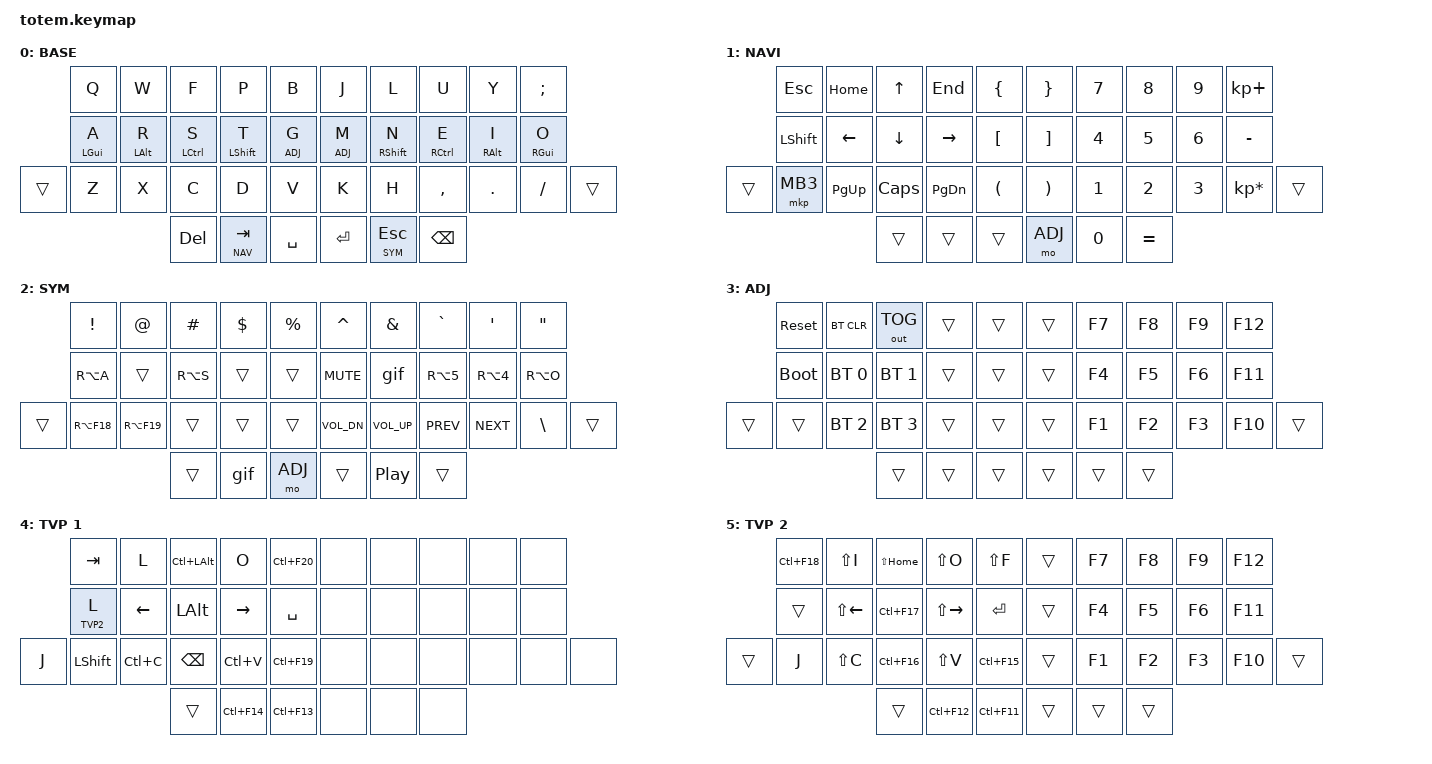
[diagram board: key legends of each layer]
//
//                                                        ▀▀▀▀▀     ▀▀▀▀▀          ▀▀█▀▀
//                                                        ▄▀▀▀▄  ▄  ▄▀▀▀▄  ▄  ▄▀▀▀▄  █  ▄▀▀▀▄
//                                                        █   █  █  █   █  █  █   █  █  █   █
//                                                         ▀▀▀   █   ▀▀▀   █   ▀▀▀   ▀   ▀▀▀
//                                                               █      ▄▄▄█▄▄▄    █   █  
//                                                               ▀      █  █  █     █▄█
//                                                             ▀▀▀▀▀    █  █  █      ▀
//                                                                      ▀  ▀  ▀
//
// ▄▄▄▄▄▄▄▄▄▄▄▄▄▄▄▄▄▄▄▄▄▄▄▄▄▄▄▄▄▄▄▄▄▄▄▄▄▄▄▄▄▄▄▄▄▄▄▄▄▄▄▄▄▄▄▄▄▄▄▄▄▄▄▄▄▄▄▄▄▄▄▄▄▄▄▄▄▄▄▄▄▄▄▄▄▄▄▄▄▄▄▄▄▄▄▄▄▄▄▄▄▄▄▄▄▄▄▄▄▄▄▄▄▄▄▄▄▄▄▄▄▄▄▄▄▄▄▄▄▄▄▄▄▄▄▄▄▄▄▄▄▄▄▄▄▄▄▄▄
       

#include <behaviors.dtsi>
#include <dt-bindings/zmk/keys.h>
#include <dt-bindings/zmk/bt.h>
#include <dt-bindings/zmk/outputs.h>
#include <dt-bindings/zmk/pointing.h>

#define BASE 0
#define NAV  1
#define SYM  2
#define ADJ  3
#define TVP1 4
#define TVP2 5

&mt {
  quick-tap-ms = <100>;
  global-quick-tap;
  flavor = "tap-preferred";
  tapping-term-ms = <170>;
};

/ {
     combos {
            compatible = "zmk,combos";
            combo_esc {
                timeout-ms = <50>;
                key-positions = <0 1>;
                bindings = <&kp ESC>;
            };
            combo_tvp {
                timeout-ms = <100>;
                key-positions = <11 12 13>;
                bindings = <&tog TVP1>;
            };
    };

    macros {
        gif: gif {
            label = "giphy";
            compatible = "zmk,behavior-macro";
            #binding-cells = <0>;
            bindings
                = <&macro_press &kp LALT>
                , <&macro_tap &kp KP_N0 &kp KP_N1 &kp KP_N7 &kp KP_N6 >
                , <&macro_release &kp LALT>
                ;
        };
    };

        keymap {
                compatible = "zmk,keymap";
// ▄▄▄▄▄▄▄▄▄▄▄▄▄▄▄▄▄▄▄▄▄▄▄▄▄▄▄▄▄▄▄▄▄▄▄▄▄▄▄▄▄▄▄▄▄▄▄▄▄▄▄▄▄▄▄▄▄▄▄▄▄▄▄▄▄▄▄▄▄▄▄▄▄▄▄▄▄▄▄▄▄▄▄▄▄▄▄▄▄▄▄▄▄▄▄▄▄▄▄▄▄▄▄▄▄▄▄▄▄▄▄▄▄▄▄▄▄▄▄▄▄▄▄▄▄▄▄▄▄▄▄▄▄▄▄▄▄▄▄▄▄▄▄▄▄▄▄▄▄

                base_layer {
// ┏━━━━━━━━━━━━━━━━━━━━━━━━━━━━━━━━━━━━━━━┓
label= "BASE"                              ;
// ┗━━━━━━━━━━━━━━━━━━━━━━━━━━━━━━━━━━━━━━━┛
//             ┏━━━━━━━━━━━┳━━━━━━━━━━━┳━━━━━━━━━━━┳━━━━━━━━━━━┳━━━━━━━━━━━┓   ┏━━━━━━━━━━━┳━━━━━━━━━━━┳━━━━━━━━━━━┳━━━━━━━━━━━┳━━━━━━━━━━━┓
//             ┃     Q     ┃     W     ┃     F     ┃     P     ┃     B     ┃   ┃     J     ┃     L     ┃     U     ┃     Y     ┃     ;     ┃
//             ┣━━━━━━━━━━━╋━━━━━━━━━━━╋━━━━━━━━━━━╋━━━━━━━━━━━╋━━━━━━━━━━━┫   ┣━━━━━━━━━━━╋━━━━━━━━━━━╋━━━━━━━━━━━╋━━━━━━━━━━━╋━━━━━━━━━━━┫
//             ┃     A     ┃     R     ┃     S     ┃     T     ┃     G     ┃   ┃     M     ┃     N     ┃     E     ┃     I     ┃     O     ┃
// ┏━━━━━━━━━━━╋━━━━━━━━━━━╋━━━━━━━━━━━╋━━━━━━━━━━━╋━━━━━━━━━━━╋━━━━━━━━━━━┫   ┣━━━━━━━━━━━╋━━━━━━━━━━━╋━━━━━━━━━━━╋━━━━━━━━━━━╋━━━━━━━━━━━╋━━━━━━━━━━━┓
// ┃           ┃     Z     ┃     X     ┃     C     ┃     D     ┃     V     ┃   ┃     K     ┃     H     ┃     ,     ┃     .     ┃     /     ┃     \     ┃
// ┗━━━━━━━━━━━┻━━━━━━━━━━━┻━━━━━━━━━━━╋━━━━━━━━━━━╋━━━━━━━━━━━╋━━━━━━━━━━━┫   ┣━━━━━━━━━━━╋━━━━━━━━━━━╋━━━━━━━━━━━╋━━━━━━━━━━━┻━━━━━━━━━━━┻━━━━━━━━━━━┛
//                                     ┃    DEL    ┃    TAB    ┃    SPC    ┃   ┃   ENTER   ┃           ┃   BSPC    ┃
//                                     ┗━━━━━━━━━━━┻━━━━━━━━━━━┻━━━━━━━━━━━┛   ┗━━━━━━━━━━━┻━━━━━━━━━━━┻━━━━━━━━━━━┛
 bindings = <
// ╷           ╷           ╷           ╷           ╷           ╷           ╷   ╷           ╷           ╷           ╷           ╷           ╷           ╷

                &kp Q       &kp W       &kp F       &kp P       &kp B           &kp J       &kp L       &kp U       &kp Y       &kp SEMI
                &mt LGUI A  &mt LALT R  &mt LCTRL S &mt LSHFT T &lt ADJ G       &lt ADJ M   &mt RSHFT N &mt RCTRL E &mt RALT I  &mt RGUI O
    &trans      &kp Z       &kp X       &kp C       &kp D       &kp V           &kp K       &kp H       &kp COMMA   &kp DOT     &kp FSLH    &trans
                                        &kp DEL   &lt NAV TAB   &kp SPACE       &kp RET   &lt SYM ESC   &kp BSPC
                        >;
                };

// ▄▄▄▄▄▄▄▄▄▄▄▄▄▄▄▄▄▄▄▄▄▄▄▄▄▄▄▄▄▄▄▄▄▄▄▄▄▄▄▄▄▄▄▄▄▄▄▄▄▄▄▄▄▄▄▄▄▄▄▄▄▄▄▄▄▄▄▄▄▄▄▄▄▄▄▄▄▄▄▄▄▄▄▄▄▄▄▄▄▄▄▄▄▄▄▄▄▄▄▄▄▄▄▄▄▄▄▄▄▄▄▄▄▄▄▄▄▄▄▄▄▄▄▄▄▄▄▄▄▄▄▄▄▄▄▄▄▄▄▄▄▄▄▄▄▄▄▄▄


                nav_layer {
// ┏━━━━━━━━━━━━━━━━━━━━━━━━━━━━━━━━━━━━━━━┓
label= "NAVI"                              ;
// ┗━━━━━━━━━━━━━━━━━━━━━━━━━━━━━━━━━━━━━━━┛
//             ┏━━━━━━━━━━━┳━━━━━━━━━━━┳━━━━━━━━━━━┳━━━━━━━━━━━┳━━━━━━━━━━━┓   ┏━━━━━━━━━━━┳━━━━━━━━━━━┳━━━━━━━━━━━┳━━━━━━━━━━━┳━━━━━━━━━━━┓
//             ┃     ESC   ┃    HOME   ┃     UP    ┃   END     ┃     {     ┃   ┃     }     ┃     7     ┃     8     ┃     9     ┃     +     ┃
//             ┣━━━━━━━━━━━╋━━━━━━━━━━━╋━━━━━━━━━━━╋━━━━━━━━━━━╋━━━━━━━━━━━┫   ┣━━━━━━━━━━━╋━━━━━━━━━━━╋━━━━━━━━━━━╋━━━━━━━━━━━╋━━━━━━━━━━━┫
//             ┃   SHIFT   ┃   LEFT    ┃    DOWN   ┃   RIGHT   ┃     [     ┃   ┃     ]     ┃     4     ┃     5     ┃     6     ┃     -     ┃
// ┏━━━━━━━━━━━╋━━━━━━━━━━━╋━━━━━━━━━━━╋━━━━━━━━━━━╋━━━━━━━━━━━╋━━━━━━━━━━━┫   ┣━━━━━━━━━━━╋━━━━━━━━━━━╋━━━━━━━━━━━╋━━━━━━━━━━━╋━━━━━━━━━━━╋━━━━━━━━━━━┓
// ┃           ┃           ┃   P UP    ┃  C LOCK   ┃  P DOWN   ┃     (     ┃   ┃     )     ┃     1     ┃     2     ┃     3     ┃     *     ┃   EQUAL   ┃
// ┗━━━━━━━━━━━┻━━━━━━━━━━━┻━━━━━━━━━━━╋━━━━━━━━━━━╋━━━━━━━━━━━╋━━━━━━━━━━━┫   ┣━━━━━━━━━━━╋━━━━━━━━━━━╋━━━━━━━━━━━╋━━━━━━━━━━━┻━━━━━━━━━━━┻━━━━━━━━━━━┛
//                                     ┃           ┃    TAB    ┃    SPC    ┃   ┃    DEL    ┃     0     ┃           ┃
//                                     ┗━━━━━━━━━━━┻━━━━━━━━━━━┻━━━━━━━━━━━┛   ┗━━━━━━━━━━━┻━━━━━━━━━━━┻━━━━━━━━━━━┛
 bindings = <
// ╷           ╷           ╷           ╷           ╷           ╷           ╷   ╷           ╷           ╷           ╷           ╷           ╷           ╷

                &kp ESC     &kp HOME    &kp UP      &kp END     &kp LBRC        &kp RBRC    &kp N7   &kp N8   &kp N9   &kp KP_PLUS
                &kp LSHFT   &kp LEFT    &kp DOWN    &kp RIGHT   &kp LBKT        &kp RBKT    &kp N4   &kp N5   &kp N6   &kp MINUS
    &trans      &mkp MB3    &kp PG_UP   &kp CAPS    &kp PG_DN   &kp LPAR        &kp RPAR    &kp N1   &kp N2   &kp N3   &kp KP_MULTIPLY &trans      
                                        &trans      &trans      &trans          &mo ADJ     &kp N0   &kp EQUAL      
                        >;
                };

// ▄▄▄▄▄▄▄▄▄▄▄▄▄▄▄▄▄▄▄▄▄▄▄▄▄▄▄▄▄▄▄▄▄▄▄▄▄▄▄▄▄▄▄▄▄▄▄▄▄▄▄▄▄▄▄▄▄▄▄▄▄▄▄▄▄▄▄▄▄▄▄▄▄▄▄▄▄▄▄▄▄▄▄▄▄▄▄▄▄▄▄▄▄▄▄▄▄▄▄▄▄▄▄▄▄▄▄▄▄▄▄▄▄▄▄▄▄▄▄▄▄▄▄▄▄▄▄▄▄▄▄▄▄▄▄▄▄▄▄▄▄▄▄▄▄▄▄▄▄


                sim_layer {
// ┏━━━━━━━━━━━━━━━━━━━━━━━━━━━━━━━━━━━━━━━┓
label= "SYM"                               ;
// ┗━━━━━━━━━━━━━━━━━━━━━━━━━━━━━━━━━━━━━━━┛
//             ┏━━━━━━━━━━━┳━━━━━━━━━━━┳━━━━━━━━━━━┳━━━━━━━━━━━┳━━━━━━━━━━━┓   ┏━━━━━━━━━━━┳━━━━━━━━━━━┳━━━━━━━━━━━┳━━━━━━━━━━━┳━━━━━━━━━━━┓
//             ┃     !     ┃     @     ┃     #     ┃     $     ┃     %     ┃   ┃     ˆ     ┃     &     ┃  GRAVE    ┃     '     ┃     "     ┃
//             ┣━━━━━━━━━━━╋━━━━━━━━━━━╋━━━━━━━━━━━╋━━━━━━━━━━━╋━━━━━━━━━━━┫   ┣━━━━━━━━━━━╋━━━━━━━━━━━╋━━━━━━━━━━━╋━━━━━━━━━━━╋━━━━━━━━━━━┫
//             ┃     Ä     ┃           ┃    SZ     ┃           ┃           ┃   ┃   MUTE    ┃   GIF     ┃   EURO    ┃  POUND    ┃     Ö     ┃
// ┏━━━━━━━━━━━╋━━━━━━━━━━━╋━━━━━━━━━━━╋━━━━━━━━━━━╋━━━━━━━━━━━╋━━━━━━━━━━━┫   ┣━━━━━━━━━━━╋━━━━━━━━━━━╋━━━━━━━━━━━╋━━━━━━━━━━━╋━━━━━━━━━━━╋━━━━━━━━━━━┓
// ┃           ┃  EMAIL1   ┃  EMAIL2   ┃           ┃           ┃           ┃   ┃   VOL-    ┃   VOL+    ┃   LAST    ┃   NEXT    ┃     \     ┃           ┃
// ┗━━━━━━━━━━━┻━━━━━━━━━━━┻━━━━━━━━━━━╋━━━━━━━━━━━╋━━━━━━━━━━━╋━━━━━━━━━━━┫   ┣━━━━━━━━━━━╋━━━━━━━━━━━╋━━━━━━━━━━━╋━━━━━━━━━━━┻━━━━━━━━━━━┻━━━━━━━━━━━┛
//                                     ┃           ┃    GIF    ┃    ADJ    ┃   ┃           ┃           ┃           ┃
//                                     ┗━━━━━━━━━━━┻━━━━━━━━━━━┻━━━━━━━━━━━┛   ┗━━━━━━━━━━━┻━━━━━━━━━━━┻━━━━━━━━━━━┛
 bindings = <
// ╷           ╷           ╷           ╷           ╷           ╷           ╷   ╷           ╷           ╷           ╷           ╷           ╷           ╷

                &kp EXCL    &kp AT      &kp HASH    &kp DLLR    &kp PRCNT       &kp CARET   &kp AMPS    &kp GRAVE  &kp SQT     &kp DQT       
                &kp RA(A)   &trans      &kp RA(S)   &trans      &trans          &kp C_MUTE  &gif     &kp RA(N5) &kp RA(N4)   &kp RA(O) 
    &trans      &kp RA(F18) &kp RA(F19) &trans      &trans      &trans          &kp C_VOL_DN &kp C_VOL_UP &kp C_PREV &kp C_NEXT  &kp BSLH   &trans         
                                        &trans      &gif        &mo ADJ         &trans      &kp C_PP    &trans      
                        >;
                };

// ▄▄▄▄▄▄▄▄▄▄▄▄▄▄▄▄▄▄▄▄▄▄▄▄▄▄▄▄▄▄▄▄▄▄▄▄▄▄▄▄▄▄▄▄▄▄▄▄▄▄▄▄▄▄▄▄▄▄▄▄▄▄▄▄▄▄▄▄▄▄▄▄▄▄▄▄▄▄▄▄▄▄▄▄▄▄▄▄▄▄▄▄▄▄▄▄▄▄▄▄▄▄▄▄▄▄▄▄▄▄▄▄▄▄▄▄▄▄▄▄▄▄▄▄▄▄▄▄▄▄▄▄▄▄▄▄▄▄▄▄▄▄▄▄▄▄▄▄▄


                adjust_layer {
// ┏━━━━━━━━━━━━━━━━━━━━━━━━━━━━━━━━━━━━━━━┓
label= "ADJ"                               ;
// ┗━━━━━━━━━━━━━━━━━━━━━━━━━━━━━━━━━━━━━━━┛
//             ┏━━━━━━━━━━━┳━━━━━━━━━━━┳━━━━━━━━━━━┳━━━━━━━━━━━┳━━━━━━━━━━━┓   ┏━━━━━━━━━━━┳━━━━━━━━━━━┳━━━━━━━━━━━┳━━━━━━━━━━━┳━━━━━━━━━━━┓
//             ┃   RESET   ┃ BT CLEAR  ┃  OUT TOG  ┃           ┃           ┃   ┃           ┃    F7     ┃    F8     ┃    F9     ┃    F12    ┃
//             ┣━━━━━━━━━━━╋━━━━━━━━━━━╋━━━━━━━━━━━╋━━━━━━━━━━━╋━━━━━━━━━━━┫   ┣━━━━━━━━━━━╋━━━━━━━━━━━╋━━━━━━━━━━━╋━━━━━━━━━━━╋━━━━━━━━━━━┫
//             ┃ BOOTLOAD  ┃ BT 0      ┃ BT 1      ┃           ┃           ┃   ┃           ┃    F4     ┃    F5     ┃    F6     ┃    F11    ┃
// ┏━━━━━━━━━━━╋━━━━━━━━━━━╋━━━━━━━━━━━╋━━━━━━━━━━━╋━━━━━━━━━━━╋━━━━━━━━━━━┫   ┣━━━━━━━━━━━╋━━━━━━━━━━━╋━━━━━━━━━━━╋━━━━━━━━━━━╋━━━━━━━━━━━╋━━━━━━━━━━━┓
// ┃           ┃           ┃ BT 2      ┃ BT 3      ┃           ┃           ┃   ┃           ┃    F1     ┃    F2     ┃    F3     ┃    F10    ┃           ┃
// ┗━━━━━━━━━━━┻━━━━━━━━━━━┻━━━━━━━━━━━╋━━━━━━━━━━━╋━━━━━━━━━━━╋━━━━━━━━━━━┫   ┣━━━━━━━━━━━╋━━━━━━━━━━━╋━━━━━━━━━━━╋━━━━━━━━━━━┻━━━━━━━━━━━┻━━━━━━━━━━━┛
//                                     ┃           ┃           ┃           ┃   ┃           ┃           ┃           ┃
//                                     ┗━━━━━━━━━━━┻━━━━━━━━━━━┻━━━━━━━━━━━┛   ┗━━━━━━━━━━━┻━━━━━━━━━━━┻━━━━━━━━━━━┛
 bindings = <
// ╷           ╷           ╷           ╷           ╷           ╷           ╷   ╷           ╷           ╷           ╷           ╷           ╷           ╷

                &sys_reset  &bt BT_CLR &out OUT_TOG &trans      &trans          &trans      &kp F7      &kp F8      &kp F9      &kp F12
                &bootloader &bt BT_SEL 0  &bt BT_SEL 1 &trans      &trans          &trans      &kp F4      &kp F5      &kp F6      &kp F11  
    &trans      &trans      &bt BT_SEL 2  &bt BT_SEL 3 &trans      &trans          &trans      &kp F1      &kp F2      &kp F3      &kp F10     &trans         
                                        &trans      &trans      &trans          &trans      &trans      &trans      
                        >;
                };

// ▄▄▄▄▄▄▄▄▄▄▄▄▄▄▄▄▄▄▄▄▄▄▄▄▄▄▄▄▄▄▄▄▄▄▄▄▄▄▄▄▄▄▄▄▄▄▄▄▄▄▄▄▄▄▄▄▄▄▄▄▄▄▄▄▄▄▄▄▄▄▄▄▄▄▄▄▄▄▄▄▄▄▄▄▄▄▄▄▄▄▄▄▄▄▄▄▄▄▄▄▄▄▄▄▄▄▄▄▄▄▄▄▄▄▄▄▄▄▄▄▄▄▄▄▄▄▄▄▄▄▄▄▄▄▄▄▄▄▄▄▄▄▄▄▄▄▄▄▄


                tvp1_layer {
// ┏━━━━━━━━━━━━━━━━━━━━━━━━━━━━━━━━━━━━━━━┓
label= "TVP 1"                             ;
// ┗━━━━━━━━━━━━━━━━━━━━━━━━━━━━━━━━━━━━━━━┛
//             ┏━━━━━━━━━━━┳━━━━━━━━━━━┳━━━━━━━━━━━┳━━━━━━━━━━━┳━━━━━━━━━━━┓   ┏━━━━━━━━━━━┳━━━━━━━━━━━┳━━━━━━━━━━━┳━━━━━━━━━━━┳━━━━━━━━━━━┓
//             ┃ NEXT FILE ┃ MARK IN   ┃ ROTATE    ┃ MARK OUT  ┃ SHOW SNAP ┃   ┃           ┃           ┃           ┃           ┃           ┃
//             ┣━━━━━━━━━━━╋━━━━━━━━━━━╋━━━━━━━━━━━╋━━━━━━━━━━━╋━━━━━━━━━━━┫   ┣━━━━━━━━━━━╋━━━━━━━━━━━╋━━━━━━━━━━━╋━━━━━━━━━━━╋━━━━━━━━━━━┫
//             ┃ TVP II    ┃ LEFT      ┃ PAN       ┃ RIGHT     ┃ PLAY/FLIP ┃   ┃           ┃           ┃           ┃           ┃           ┃
// ┏━━━━━━━━━━━╋━━━━━━━━━━━╋━━━━━━━━━━━╋━━━━━━━━━━━╋━━━━━━━━━━━╋━━━━━━━━━━━┫   ┣━━━━━━━━━━━╋━━━━━━━━━━━╋━━━━━━━━━━━╋━━━━━━━━━━━╋━━━━━━━━━━━╋━━━━━━━━━━━┓
// ┃ FULLSCR   ┃ SHIFT     ┃ COPY      ┃ DELETE    ┃ PASTE     ┃ IMG MARK  ┃   ┃           ┃           ┃           ┃           ┃           ┃           ┃
// ┗━━━━━━━━━━━┻━━━━━━━━━━━┻━━━━━━━━━━━╋━━━━━━━━━━━╋━━━━━━━━━━━╋━━━━━━━━━━━┫   ┣━━━━━━━━━━━╋━━━━━━━━━━━╋━━━━━━━━━━━╋━━━━━━━━━━━┻━━━━━━━━━━━┻━━━━━━━━━━━┛
//                                     ┃           ┃ UNDO/SAVE ┃  SEL/MOV  ┃   ┃           ┃           ┃           ┃
//                                     ┗━━━━━━━━━━━┻━━━━━━━━━━━┻━━━━━━━━━━━┛   ┗━━━━━━━━━━━┻━━━━━━━━━━━┻━━━━━━━━━━━┛
 bindings = <
// ╷           ╷           ╷           ╷           ╷           ╷           ╷   ╷           ╷           ╷           ╷           ╷           ╷           ╷

                &kp TAB     &kp L       &kp LC(LALT) &kp O      &kp LC(F20)     &none       &none       &none       &none       &none
                &lt TVP2 L  &kp LEFT    &kp LALT    &kp RIGHT   &kp SPACE       &none       &none       &none       &none       &none
    &kp J       &kp LSHFT   &kp LC(C)   &kp BSPC    &kp LC(V)   &kp LC(F19)     &none       &none       &none       &none       &none       &none        
                                        &trans      &kp LC(F14) &kp LC(F13)     &none       &none       &none    
                        >;
                };

// ▄▄▄▄▄▄▄▄▄▄▄▄▄▄▄▄▄▄▄▄▄▄▄▄▄▄▄▄▄▄▄▄▄▄▄▄▄▄▄▄▄▄▄▄▄▄▄▄▄▄▄▄▄▄▄▄▄▄▄▄▄▄▄▄▄▄▄▄▄▄▄▄▄▄▄▄▄▄▄▄▄▄▄▄▄▄▄▄▄▄▄▄▄▄▄▄▄▄▄▄▄▄▄▄▄▄▄▄▄▄▄▄▄▄▄▄▄▄▄▄▄▄▄▄▄▄▄▄▄▄▄▄▄▄▄▄▄▄▄▄▄▄▄▄▄▄▄▄▄


                tvp2_layer {
// ┏━━━━━━━━━━━━━━━━━━━━━━━━━━━━━━━━━━━━━━━┓
label= "TVP 2"                             ;
// ┗━━━━━━━━━━━━━━━━━━━━━━━━━━━━━━━━━━━━━━━┛
//             ┏━━━━━━━━━━━┳━━━━━━━━━━━┳━━━━━━━━━━━┳━━━━━━━━━━━┳━━━━━━━━━━━┓   ┏━━━━━━━━━━━┳━━━━━━━━━━━┳━━━━━━━━━━━┳━━━━━━━━━━━┳━━━━━━━━━━━┓
//             ┃ SOLO      ┃ TOGGLE IN ┃ RESET ROT ┃ TOGGLE OUT┃ TAKE SNAP ┃   ┃           ┃           ┃           ┃           ┃           ┃
//             ┣━━━━━━━━━━━╋━━━━━━━━━━━╋━━━━━━━━━━━╋━━━━━━━━━━━╋━━━━━━━━━━━┫   ┣━━━━━━━━━━━╋━━━━━━━━━━━╋━━━━━━━━━━━╋━━━━━━━━━━━╋━━━━━━━━━━━┫
//             ┃ ---       ┃ LAST KEY  ┃ NEW KEY   ┃ NEXT KEY  ┃ ENTER     ┃   ┃           ┃           ┃           ┃           ┃           ┃
// ┏━━━━━━━━━━━╋━━━━━━━━━━━╋━━━━━━━━━━━╋━━━━━━━━━━━╋━━━━━━━━━━━╋━━━━━━━━━━━┫   ┣━━━━━━━━━━━╋━━━━━━━━━━━╋━━━━━━━━━━━╋━━━━━━━━━━━╋━━━━━━━━━━━╋━━━━━━━━━━━┓
// ┃           ┃ FULLSCR   ┃ CPY2BRUSH ┃ DEL HEAD  ┃ PSTinPLACE┃ BOOK MARK ┃   ┃           ┃           ┃           ┃           ┃           ┃           ┃
// ┗━━━━━━━━━━━┻━━━━━━━━━━━┻━━━━━━━━━━━╋━━━━━━━━━━━╋━━━━━━━━━━━╋━━━━━━━━━━━┫   ┣━━━━━━━━━━━╋━━━━━━━━━━━╋━━━━━━━━━━━╋━━━━━━━━━━━┻━━━━━━━━━━━┻━━━━━━━━━━━┛
//                                     ┃           ┃ REDO/SAV1 ┃TRANS/WARP ┃   ┃           ┃           ┃           ┃
//                                     ┗━━━━━━━━━━━┻━━━━━━━━━━━┻━━━━━━━━━━━┛   ┗━━━━━━━━━━━┻━━━━━━━━━━━┻━━━━━━━━━━━┛
 bindings = <
// ╷           ╷           ╷           ╷           ╷           ╷           ╷   ╷           ╷           ╷           ╷           ╷           ╷           ╷

                &kp LC(F18) &kp LS(I)  &kp LS(HOME) &kp LS(O)   &kp LS(F)       &trans      &kp F7      &kp F8      &kp F9      &kp F12
                &trans      &kp LS(LEFT) &kp LC(F17) &kp LS(RIGHT) &kp RET      &trans      &kp F4      &kp F5      &kp F6      &kp F11  
    &trans      &kp J       &kp LS(C)   &kp LC(F16) &kp LS(V)   &kp LC(F15)     &trans      &kp F1      &kp F2      &kp F3      &kp F10     &trans         
                                        &trans      &kp LC(F12) &kp LC(F11)     &trans      &trans      &trans      
                        >;
                };
        };
};
